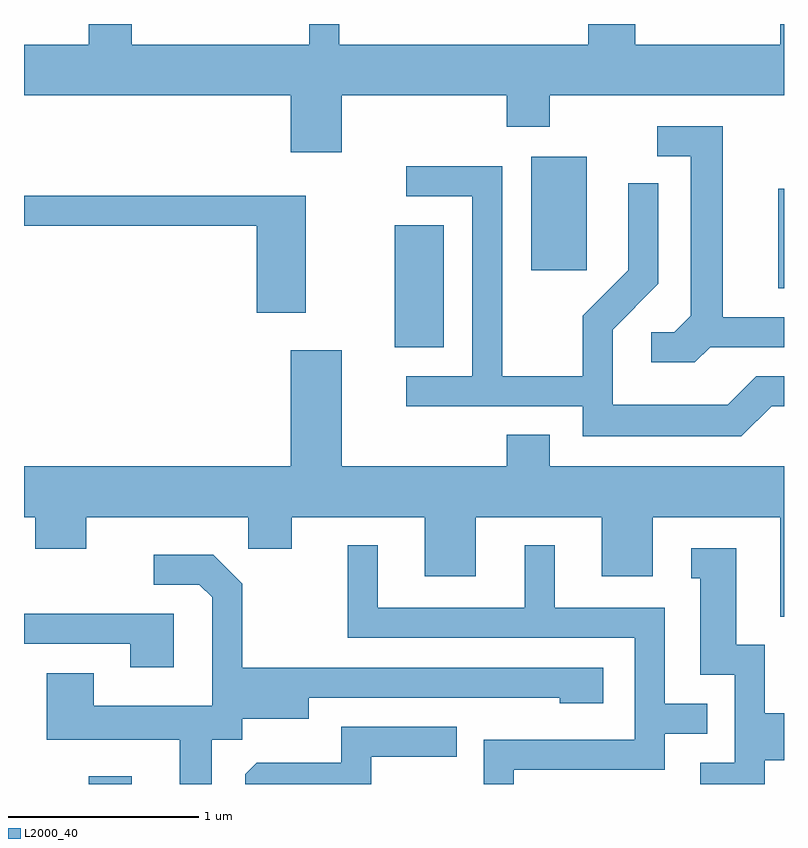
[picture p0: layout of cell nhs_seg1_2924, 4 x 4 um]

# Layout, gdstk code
import gdstk
lib = gdstk.Library(unit=1e-6, precision=1e-09)
def R(c, l, rs):  # rectangles x0, y0, x1, y1
    for r in rs: c.add(gdstk.rectangle(r[:2], r[2:], *l))
def P(c, l, *ps):  # polygons
    for p in ps: c.add(gdstk.Polygon(p, *l))
L2000_40 = (2000, 40)

nhs_seg1_2924 = lib.new_cell('nhs_seg1_2924')
R(nhs_seg1_2924, L2000_40, [(273.951,913.712,274.179,913.754), (275.561,916.011,275.819,916.654), (277.581,916.321,277.611,916.844), (276.281,916.416,276.574,917.014)])
P(nhs_seg1_2924, L2000_40, [(275.284,917.336),(276.151,917.336),(276.151,917.171),(276.379,917.171),(276.379,917.336),(277.611,917.336),(277.611,917.712),(277.591,917.712),(277.591,917.604),(276.829,917.604),(276.829,917.712),(276.581,917.712),(276.581,917.604),(275.269,917.604),(275.269,917.712),(275.111,917.712),(275.111,917.604),(274.179,917.604),(274.179,917.712),(273.951,917.712),(273.951,917.604),(273.611,917.604),(273.611,917.336),(275.016,917.336),(275.016,917.036),(275.284,917.036)],
  [(277.222,916.011),(277.611,916.011),(277.611,916.169),(277.289,916.169),(277.289,917.174),(276.943,917.174),(276.943,917.016),(277.121,917.016),(277.121,916.177),(277.034,916.089),(276.913,916.089),(276.913,915.931),(277.142,915.931)],
  [(277.547,915.701),(277.611,915.701),(277.611,915.859),(277.464,915.859),(277.314,915.709),(276.709,915.709),(276.709,916.104),(276.949,916.344),(276.949,916.873),(276.791,916.873),(276.791,916.417),(276.551,916.177),(276.551,915.859),(276.129,915.859),(276.129,916.964),(275.623,916.964),(275.623,916.806),(275.971,916.806),(275.971,915.859),(275.623,915.859),(275.623,915.701),(276.551,915.701),(276.551,915.541),(277.387,915.541)],
  [(275.094,916.809),(273.611,916.809),(273.611,916.651),(274.836,916.651),(274.836,916.191),(275.094,916.191)],
  [(277.611,915.384),(276.379,915.384),(276.379,915.549),(276.151,915.549),(276.151,915.384),(275.284,915.384),(275.284,915.994),(275.016,915.994),(275.016,915.384),(273.611,915.384),(273.611,915.116),(273.671,915.116),(273.671,914.951),(273.939,914.951),(273.939,915.116),(274.791,915.116),(274.791,914.951),(275.019,914.951),(275.019,915.116),(275.721,915.116),(275.721,914.806),(275.989,914.806),(275.989,915.116),(276.651,915.116),(276.651,914.806),(276.919,914.806),(276.919,915.116),(277.591,915.116),(277.591,914.591),(277.611,914.591)],
  [(276.189,913.786),(276.984,913.786),(276.984,913.976),(277.208,913.976),(277.208,914.134),(276.984,914.134),(276.984,914.639),(276.404,914.639),(276.404,914.968),(276.246,914.968),(276.246,914.639),(275.474,914.639),(275.474,914.968),(275.316,914.968),(275.316,914.481),(276.826,914.481),(276.826,913.944),(276.031,913.944),(276.031,913.712),(276.189,913.712)],
  [(277.509,913.836),(277.611,913.836),(277.611,914.084),(277.509,914.084),(277.509,914.444),(277.359,914.444),(277.359,914.954),(277.123,914.954),(277.123,914.796),(277.171,914.796),(277.171,914.286),(277.351,914.286),(277.351,913.824),(277.171,913.824),(277.171,913.712),(277.509,913.712)],
  [(274.599,913.946),(274.759,913.946),(274.759,914.056),(275.109,914.056),(275.109,914.166),(276.431,914.166),(276.431,914.136),(276.659,914.136),(276.659,914.324),(274.759,914.324),(274.759,914.767),(274.607,914.919),(274.293,914.919),(274.293,914.761),(274.534,914.761),(274.601,914.694),(274.601,914.124),(273.979,914.124),(273.979,914.294),(273.731,914.294),(273.731,913.946),(274.431,913.946),(274.431,913.712),(274.599,913.712)],
  [(274.399,914.609),(273.611,914.609),(273.611,914.451),(274.171,914.451),(274.171,914.326),(274.399,914.326)],
  [(275.439,913.856),(275.888,913.856),(275.888,914.014),(275.281,914.014),(275.281,913.824),(274.837,913.824),(274.776,913.764),(274.776,913.712),(275.439,913.712)])

lib.write_gds('nhs_seg1_2924.gds')
